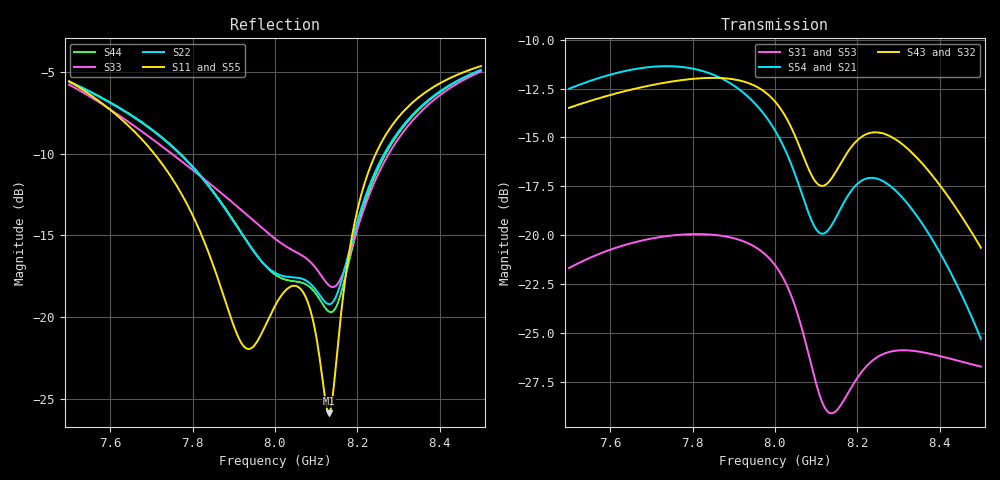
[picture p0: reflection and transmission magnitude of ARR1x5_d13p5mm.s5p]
! Touchstone file exported from HFSS 2025.1.0
!  File:  C:/Users/user/Documents/Ansoft/TFG_UWB-MIMO-Array.aedt
!  Generated:  09:03:11 PM Nov 21, 2026
!  Design:  ARR1x5_US3_PS4_2_1_dparam
!  Project:  TFG_UWB-MIMO-Array
!  Setup:  Setup_ch9
!  Solution:  Sweep_7p5_8p5
! Variables:
!  arr_d = 13.5mm
!  board_m = 13mm
!  board_x = 80mm
!  board_y = 26mm
!  cu_t = 0.035mm
!  line_w = 3.92mm
!  pad_xy = 22mm
!  pad_zn = 25mm
!  pad_zp = 33mm
!  par_L = 7.46mm
!  par_W = 10mm
!  par_yc = 0.75mm
!  par_z = 1.035mm
!  patch_L = 6.222mm
!  patch_W = 11.421266mm
!  sub_h = 2.07mm
!  tr_l = 6.6mm
!  tr_w = 0.8mm
!  u_Lu = 2.65mm
!  u_Wu = 4.4mm
!  u_t = 0.8mm
!  u_y0 = -0.7mm
# GHz S MA R 50.000000
! Terminal data exported
! Port[1] = P1
! Port[2] = P2
! Port[3] = P3
! Port[4] = P4
! Port[5] = P5
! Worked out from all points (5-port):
!   1001 points, 7.5 GHz to 8.5 GHz, reference 50 ohm
!   strongest paths, dB at 7.5 GHz, 7.75 GHz, 8 GHz, 8.25 GHz, 8.5 GHz:
!     S43: -13.5, -12.1, -13.2, -14.7, -20.6
!     S32: -13.5, -12.2, -13.3, -14.8, -20.8
!     S54: -12.5, -11.4, -14.6, -17.1, -25.3
!     S21: -12.5, -11.3, -14.7, -17.1, -25.4
!     S31: -21.7, -20.0, -21.5, -26.2, -26.7
!     S53: -21.7, -20.0, -21.5, -26.2, -26.8
!   lowest |S11| = -25.9 dB at 8.131 GHz (marker M1), VSWR 1.11, Z = 53.6 + j3.89 ohm
!   |S11| at or under -10 dB: 7.707 GHz to 8.245 GHz (538 MHz wide, 6.74 % of centre)
